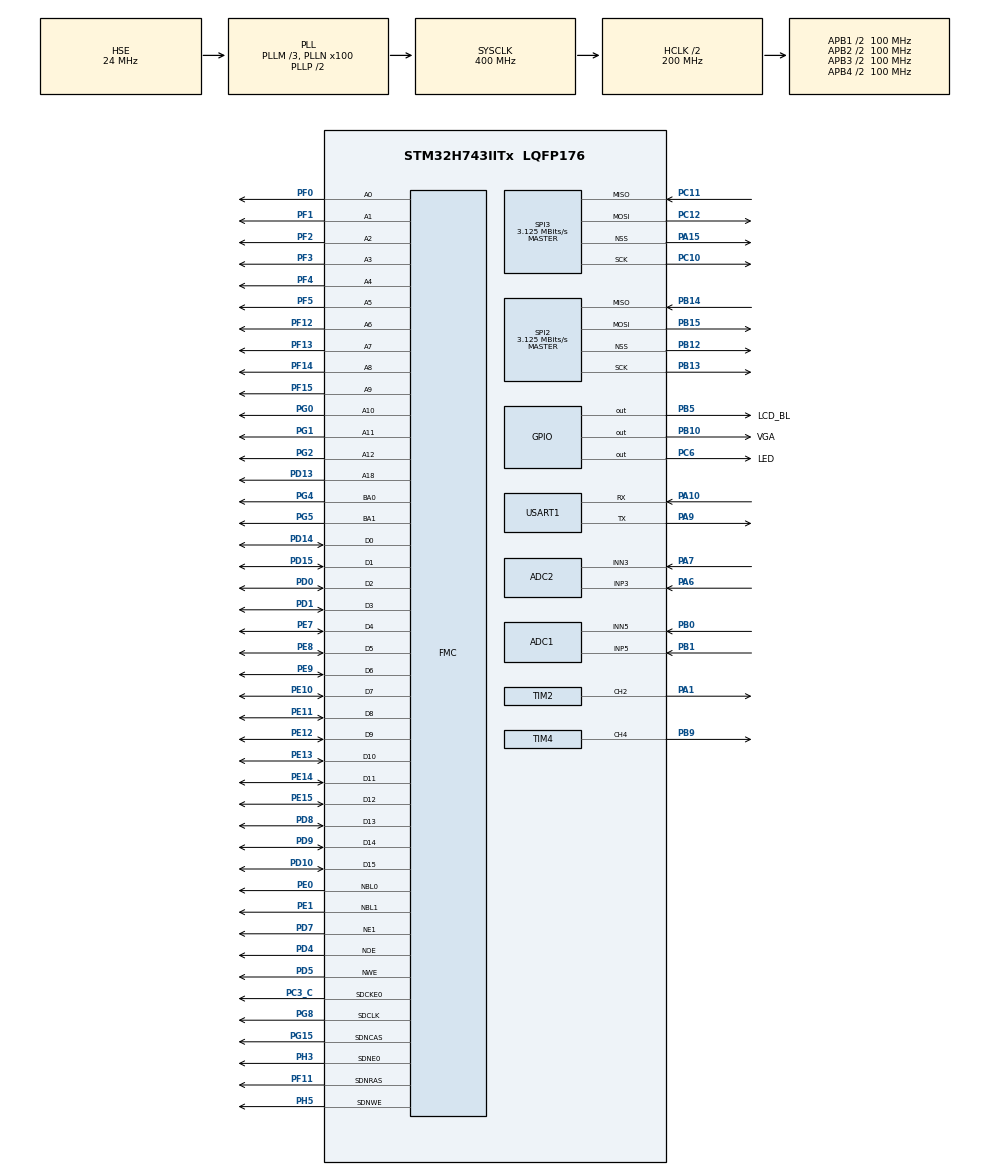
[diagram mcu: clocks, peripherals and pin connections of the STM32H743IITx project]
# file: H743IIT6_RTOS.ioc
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ADC1.Channel-0\#ChannelRegularConversion=ADC_CHANNEL_5
ADC1.ClockPrescaler=ADC_CLOCK_ASYNC_DIV12
ADC1.ConversionDataManagement=ADC_CONVERSIONDATA_DMA_ONESHOT
ADC1.ExternalTrigConv=ADC_EXTERNALTRIG_T2_CC2
ADC1.NbrOfConversionFlag=1
ADC1.OffsetNumber-0\#ChannelRegularConversion=ADC_OFFSET_NONE
ADC1.OffsetSignedSaturation-0\#ChannelRegularConversion=DISABLE
ADC1.Overrun=ADC_OVR_DATA_OVERWRITTEN
ADC1.Rank-0\#ChannelRegularConversion=1
ADC1.SamplingTime-0\#ChannelRegularConversion=ADC_SAMPLETIME_8CYCLES_5
ADC1.SingleDiff-0\#ChannelRegularConversion=ADC_DIFFERENTIAL_ENDED
ADC1.master=1
ADC2.Channel-0\#ChannelRegularConversion=ADC_CHANNEL_3
ADC2.ClockPrescaler=ADC_CLOCK_ASYNC_DIV12
ADC2.ConversionDataManagement=ADC_CONVERSIONDATA_DMA_ONESHOT
ADC2.ExternalTrigConv=ADC_EXTERNALTRIG_T4_CC4
ADC2.NbrOfConversionFlag=1
ADC2.OffsetNumber-0\#ChannelRegularConversion=ADC_OFFSET_NONE
ADC2.OffsetSignedSaturation-0\#ChannelRegularConversion=DISABLE
ADC2.Overrun=ADC_OVR_DATA_OVERWRITTEN
ADC2.Rank-0\#ChannelRegularConversion=1
ADC2.SamplingTime-0\#ChannelRegularConversion=ADC_SAMPLETIME_1CYCLE_5
ADC2.SingleDiff-0\#ChannelRegularConversion=ADC_DIFFERENTIAL_ENDED
CORTEX_M7.AccessPermission-Cortex_Memory_Protection_Unit_Region0_Settings=MPU_REGION_FULL_ACCESS
CORTEX_M7.AccessPermission-Cortex_Memory_Protection_Unit_Region1_Settings=MPU_REGION_FULL_ACCESS
CORTEX_M7.BaseAddress-Cortex_Memory_Protection_Unit_Region0_Settings=0x24000000
CORTEX_M7.BaseAddress-Cortex_Memory_Protection_Unit_Region1_Settings=0x38000000
CORTEX_M7.CPU_DCache=Enabled
CORTEX_M7.CPU_ICache=Enabled
CORTEX_M7.Enable-Cortex_Memory_Protection_Unit_Region0_Settings=MPU_REGION_ENABLE
CORTEX_M7.Enable-Cortex_Memory_Protection_Unit_Region1_Settings=MPU_REGION_ENABLE
CORTEX_M7.IsBufferable-Cortex_Memory_Protection_Unit_Region0_Settings=MPU_ACCESS_BUFFERABLE
CORTEX_M7.IsCacheable-Cortex_Memory_Protection_Unit_Region0_Settings=MPU_ACCESS_CACHEABLE
CORTEX_M7.IsCacheable-Cortex_Memory_Protection_Unit_Region1_Settings=MPU_ACCESS_CACHEABLE
CORTEX_M7.MPU_Control=MPU_PRIVILEGED_DEFAULT
CORTEX_M7.Size-Cortex_Memory_Protection_Unit_Region0_Settings=MPU_REGION_SIZE_512KB
CORTEX_M7.Size-Cortex_Memory_Protection_Unit_Region1_Settings=MPU_REGION_SIZE_64KB
CORTEX_M7.TypeExtField-Cortex_Memory_Protection_Unit_Region0_Settings=MPU_TEX_LEVEL1
Dma.ADC1.4.Direction=DMA_PERIPH_TO_MEMORY
Dma.ADC1.4.EventEnable=DISABLE
Dma.ADC1.4.FIFOMode=DMA_FIFOMODE_DISABLE
Dma.ADC1.4.Instance=DMA1_Stream4
Dma.ADC1.4.MemDataAlignment=DMA_MDATAALIGN_HALFWORD
Dma.ADC1.4.MemInc=DMA_MINC_ENABLE
Dma.ADC1.4.Mode=DMA_NORMAL
Dma.ADC1.4.PeriphDataAlignment=DMA_PDATAALIGN_HALFWORD
Dma.ADC1.4.PeriphInc=DMA_PINC_DISABLE
Dma.ADC1.4.Polarity=HAL_DMAMUX_REQ_GEN_RISING
Dma.ADC1.4.Priority=DMA_PRIORITY_LOW
Dma.ADC1.4.RequestNumber=1
Dma.ADC1.4.SignalID=NONE
Dma.ADC1.4.SyncEnable=DISABLE
Dma.ADC1.4.SyncPolarity=HAL_DMAMUX_SYNC_NO_EVENT
Dma.ADC1.4.SyncRequestNumber=1
Dma.ADC1.4.SyncSignalID=NONE
Dma.ADC2.5.Direction=DMA_PERIPH_TO_MEMORY
Dma.ADC2.5.EventEnable=DISABLE
Dma.ADC2.5.FIFOMode=DMA_FIFOMODE_DISABLE
Dma.ADC2.5.Instance=DMA1_Stream5
Dma.ADC2.5.MemDataAlignment=DMA_MDATAALIGN_HALFWORD
Dma.ADC2.5.MemInc=DMA_MINC_ENABLE
Dma.ADC2.5.Mode=DMA_NORMAL
Dma.ADC2.5.PeriphDataAlignment=DMA_PDATAALIGN_HALFWORD
Dma.ADC2.5.PeriphInc=DMA_PINC_DISABLE
Dma.ADC2.5.Polarity=HAL_DMAMUX_REQ_GEN_RISING
Dma.ADC2.5.Priority=DMA_PRIORITY_LOW
Dma.ADC2.5.RequestNumber=1
Dma.ADC2.5.SignalID=NONE
Dma.ADC2.5.SyncEnable=DISABLE
Dma.ADC2.5.SyncPolarity=HAL_DMAMUX_SYNC_NO_EVENT
Dma.ADC2.5.SyncRequestNumber=1
Dma.ADC2.5.SyncSignalID=NONE
Dma.Request0=SPI2_RX
Dma.Request1=SPI2_TX
Dma.Request2=SPI3_RX
Dma.Request3=SPI3_TX
Dma.Request4=ADC1
Dma.Request5=ADC2
Dma.SPI2_RX.0.Direction=DMA_PERIPH_TO_MEMORY
Dma.SPI2_RX.0.EventEnable=DISABLE
Dma.SPI2_RX.0.FIFOMode=DMA_FIFOMODE_DISABLE
Dma.SPI2_RX.0.Instance=DMA1_Stream0
Dma.SPI2_RX.0.MemDataAlignment=DMA_MDATAALIGN_HALFWORD
Dma.SPI2_RX.0.MemInc=DMA_MINC_ENABLE
Dma.SPI2_RX.0.Mode=DMA_NORMAL
Dma.SPI2_RX.0.PeriphDataAlignment=DMA_PDATAALIGN_HALFWORD
Dma.SPI2_RX.0.PeriphInc=DMA_PINC_DISABLE
Dma.SPI2_RX.0.Polarity=HAL_DMAMUX_REQ_GEN_RISING
Dma.SPI2_RX.0.Priority=DMA_PRIORITY_LOW
Dma.SPI2_RX.0.RequestNumber=1
Dma.SPI2_RX.0.SignalID=NONE
Dma.SPI2_RX.0.SyncEnable=DISABLE
Dma.SPI2_RX.0.SyncPolarity=HAL_DMAMUX_SYNC_NO_EVENT
Dma.SPI2_RX.0.SyncRequestNumber=1
Dma.SPI2_RX.0.SyncSignalID=NONE
Dma.SPI2_TX.1.Direction=DMA_MEMORY_TO_PERIPH
Dma.SPI2_TX.1.EventEnable=DISABLE
Dma.SPI2_TX.1.FIFOMode=DMA_FIFOMODE_DISABLE
Dma.SPI2_TX.1.Instance=DMA1_Stream1
Dma.SPI2_TX.1.MemDataAlignment=DMA_MDATAALIGN_HALFWORD
Dma.SPI2_TX.1.MemInc=DMA_MINC_ENABLE
Dma.SPI2_TX.1.Mode=DMA_NORMAL
Dma.SPI2_TX.1.PeriphDataAlignment=DMA_PDATAALIGN_HALFWORD
Dma.SPI2_TX.1.PeriphInc=DMA_PINC_DISABLE
Dma.SPI2_TX.1.Polarity=HAL_DMAMUX_REQ_GEN_RISING
Dma.SPI2_TX.1.Priority=DMA_PRIORITY_LOW
Dma.SPI2_TX.1.RequestNumber=1
Dma.SPI2_TX.1.SignalID=NONE
Dma.SPI2_TX.1.SyncEnable=DISABLE
Dma.SPI2_TX.1.SyncPolarity=HAL_DMAMUX_SYNC_NO_EVENT
Dma.SPI2_TX.1.SyncRequestNumber=1
Dma.SPI2_TX.1.SyncSignalID=NONE
Dma.SPI3_RX.2.Direction=DMA_PERIPH_TO_MEMORY
Dma.SPI3_RX.2.EventEnable=DISABLE
Dma.SPI3_RX.2.FIFOMode=DMA_FIFOMODE_DISABLE
Dma.SPI3_RX.2.Instance=DMA1_Stream2
Dma.SPI3_RX.2.MemDataAlignment=DMA_MDATAALIGN_HALFWORD
Dma.SPI3_RX.2.MemInc=DMA_MINC_ENABLE
Dma.SPI3_RX.2.Mode=DMA_NORMAL
Dma.SPI3_RX.2.PeriphDataAlignment=DMA_PDATAALIGN_HALFWORD
Dma.SPI3_RX.2.PeriphInc=DMA_PINC_DISABLE
Dma.SPI3_RX.2.Polarity=HAL_DMAMUX_REQ_GEN_RISING
Dma.SPI3_RX.2.Priority=DMA_PRIORITY_LOW
Dma.SPI3_RX.2.RequestNumber=1
Dma.SPI3_RX.2.SignalID=NONE
Dma.SPI3_RX.2.SyncEnable=DISABLE
Dma.SPI3_RX.2.SyncPolarity=HAL_DMAMUX_SYNC_NO_EVENT
Dma.SPI3_RX.2.SyncRequestNumber=1
Dma.SPI3_RX.2.SyncSignalID=NONE
Dma.SPI3_TX.3.Direction=DMA_MEMORY_TO_PERIPH
Dma.SPI3_TX.3.EventEnable=DISABLE
Dma.SPI3_TX.3.FIFOMode=DMA_FIFOMODE_DISABLE
Dma.SPI3_TX.3.Instance=DMA1_Stream3
Dma.SPI3_TX.3.MemDataAlignment=DMA_MDATAALIGN_HALFWORD
Dma.SPI3_TX.3.MemInc=DMA_MINC_ENABLE
Dma.SPI3_TX.3.Mode=DMA_NORMAL
Dma.SPI3_TX.3.PeriphDataAlignment=DMA_PDATAALIGN_HALFWORD
Dma.SPI3_TX.3.PeriphInc=DMA_PINC_DISABLE
Dma.SPI3_TX.3.Polarity=HAL_DMAMUX_REQ_GEN_RISING
Dma.SPI3_TX.3.Priority=DMA_PRIORITY_LOW
Dma.SPI3_TX.3.RequestNumber=1
Dma.SPI3_TX.3.SignalID=NONE
Dma.SPI3_TX.3.SyncEnable=DISABLE
Dma.SPI3_TX.3.SyncPolarity=HAL_DMAMUX_SYNC_NO_EVENT
Dma.SPI3_TX.3.SyncRequestNumber=1
Dma.SPI3_TX.3.SyncSignalID=NONE
FMC.BankMapConfig=FMC_SWAPBMAP_DISABLE
FMC.BusTurnAroundDuration1=10
FMC.CASLatency1=FMC_SDRAM_CAS_LATENCY_3
FMC.ColumnBitsNumber1=FMC_SDRAM_COLUMN_BITS_NUM_9
FMC.DataSetupTime1=85
FMC.ExitSelfRefreshDelay1=8
FMC.ExtendedBusTurnAroundDuration1=0
FMC.ExtendedDataSetupTime1=15
FMC.ExtendedMode1=FMC_EXTENDED_MODE_ENABLE
FMC.LoadToActiveDelay1=2
FMC.RCDDelay1=2
FMC.RPDelay1=2
FMC.ReadBurst1=FMC_SDRAM_RBURST_ENABLE
FMC.ReadPipeDelay1=FMC_SDRAM_RPIPE_DELAY_1
FMC.RowCycleDelay1=7
FMC.SDClockPeriod1=FMC_SDRAM_CLOCK_PERIOD_2
FMC.SelfRefreshTime1=6
FMC.WriteRecoveryTime1=5
FREERTOS.Tasks01=lvglTask,24,1024,lvglTask_cb,Default,NULL,Dynamic,NULL,NULL;adcTask,24,1024,adcTask_cb,Default,NULL,Dynamic,NULL,NULL;spiTask,24,1024,spiTask_cb,Default,NULL,Dynamic,NULL,NULL
FREERTOS.configENABLE_FPU=1
FREERTOS.configUSE_NEWLIB_REENTRANT=1
FREERTOS.configUSE_TICK_HOOK=1
Mcu.Family=STM32H7
Mcu.Name=STM32H743IITx
Mcu.Package=LQFP176
NVIC.DMA1_Stream0_IRQn=true\:5\:0\:false\:false\:true\:true\:false\:true\:true
NVIC.DMA1_Stream1_IRQn=true\:5\:0\:false\:false\:true\:true\:false\:true\:true
NVIC.DMA1_Stream2_IRQn=true\:5\:0\:false\:false\:true\:true\:false\:true\:true
NVIC.DMA1_Stream3_IRQn=true\:5\:0\:false\:false\:true\:true\:false\:true\:true
NVIC.DMA1_Stream4_IRQn=true\:5\:0\:false\:false\:true\:true\:false\:true\:true
NVIC.DMA1_Stream5_IRQn=true\:5\:0\:false\:false\:true\:true\:false\:true\:true
NVIC.PriorityGroup=NVIC_PRIORITYGROUP_4
NVIC.SPI2_IRQn=true\:5\:0\:false\:false\:true\:true\:false\:true\:true
NVIC.SPI3_IRQn=true\:5\:0\:false\:false\:true\:true\:false\:true\:true
NVIC.TIM17_IRQn=true\:15\:0\:false\:false\:true\:false\:false\:true\:true
NVIC.TimeBase=TIM17_IRQn
NVIC.TimeBaseIP=TIM17
PA1.Signal=S_TIM2_CH2
PA10.Mode=Asynchronous
PA10.Signal=USART1_RX
PA13\ (JTMS/SWDIO).Mode=Serial_Wire
PA13\ (JTMS/SWDIO).Signal=DEBUG_JTMS-SWDIO
PA14\ (JTCK/SWCLK).Mode=Serial_Wire
PA14\ (JTCK/SWCLK).Signal=DEBUG_JTCK-SWCLK
PA15\ (JTDI).GPIO_PuPd=GPIO_PULLUP
PA15\ (JTDI).GPIO_Speed=GPIO_SPEED_FREQ_VERY_HIGH
PA15\ (JTDI).Mode=NSS_Signal_Hard_Output
PA15\ (JTDI).Signal=SPI3_NSS
PA6.Signal=ADCx_INP3
PA7.Signal=ADCx_INN3
PA9.Mode=Asynchronous
PA9.Signal=USART1_TX
PB0.Signal=ADCx_INN5
PB1.Signal=ADCx_INP5
PB10.GPIO_Label=VGA
PB10.Signal=GPIO_Output
PB12.GPIO_PuPd=GPIO_PULLUP
PB12.GPIO_Speed=GPIO_SPEED_FREQ_VERY_HIGH
PB12.Mode=NSS_Signal_Hard_Output
PB12.Signal=SPI2_NSS
PB13.GPIO_Speed=GPIO_SPEED_FREQ_VERY_HIGH
PB13.Mode=Full_Duplex_Master
PB13.Signal=SPI2_SCK
PB14.GPIO_Speed=GPIO_SPEED_FREQ_VERY_HIGH
PB14.Mode=Full_Duplex_Master
PB14.Signal=SPI2_MISO
PB15.GPIO_Speed=GPIO_SPEED_FREQ_VERY_HIGH
PB15.Mode=Full_Duplex_Master
PB15.Signal=SPI2_MOSI
PB5.GPIO_Label=LCD_BL
PB5.Signal=GPIO_Output
PB9.Signal=S_TIM4_CH4
PC10.GPIO_Speed=GPIO_SPEED_FREQ_VERY_HIGH
PC10.Mode=Full_Duplex_Master
PC10.Signal=SPI3_SCK
PC11.GPIO_Speed=GPIO_SPEED_FREQ_VERY_HIGH
PC11.Mode=Full_Duplex_Master
PC11.Signal=SPI3_MISO
PC12.GPIO_Speed=GPIO_SPEED_FREQ_VERY_HIGH
PC12.Mode=Full_Duplex_Master
PC12.Signal=SPI3_MOSI
PC14-OSC32_IN\ (OSC32_IN).Mode=LSE-External-Oscillator
PC14-OSC32_IN\ (OSC32_IN).Signal=RCC_OSC32_IN
PC15-OSC32_OUT\ (OSC32_OUT).Mode=LSE-External-Oscillator
PC15-OSC32_OUT\ (OSC32_OUT).Signal=RCC_OSC32_OUT
PC3_C.Mode=SdramChipSelect1_1
PC3_C.Signal=FMC_SDCKE0
PC6.GPIO_Label=LED
PC6.Signal=GPIO_Output
PD0.Signal=FMC_D2_DA2
PD1.Signal=FMC_D3_DA3
PD10.Signal=FMC_D15_DA15
PD13.Signal=FMC_A18
PD14.Signal=FMC_D0_DA0
PD15.Signal=FMC_D1_DA1
PD4.Signal=FMC_NOE
PD5.Signal=FMC_NWE
PD7.Mode=NorPsramChipSelect1_1
PD7.Signal=FMC_NE1
PD8.Signal=FMC_D13_DA13
PD9.Signal=FMC_D14_DA14
PE0.Signal=FMC_NBL0
PE1.Signal=FMC_NBL1
PE10.Signal=FMC_D7_DA7
PE11.Signal=FMC_D8_DA8
PE12.Signal=FMC_D9_DA9
PE13.Signal=FMC_D10_DA10
PE14.Signal=FMC_D11_DA11
PE15.Signal=FMC_D12_DA12
PE7.Signal=FMC_D4_DA4
PE8.Signal=FMC_D5_DA5
PE9.Signal=FMC_D6_DA6
PF0.Signal=FMC_A0
PF1.Signal=FMC_A1
PF11.Signal=FMC_SDNRAS
PF12.Signal=FMC_A6
PF13.Signal=FMC_A7
PF14.Signal=FMC_A8
PF15.Signal=FMC_A9
PF2.Signal=FMC_A2
PF3.Signal=FMC_A3
PF4.Signal=FMC_A4
PF5.Signal=FMC_A5
PG0.Signal=FMC_A10
PG1.Signal=FMC_A11
PG11.GPIO_Speed=GPIO_SPEED_FREQ_VERY_HIGH
PG11.Signal=LTDC_B3
PG15.Signal=FMC_SDNCAS
PG2.Signal=FMC_A12
PG4.Signal=FMC_A14_BA0
PG5.Signal=FMC_A15_BA1
PG8.Signal=FMC_SDCLK
PH0-OSC_IN\ (PH0).Mode=HSE-External-Oscillator
PH0-OSC_IN\ (PH0).Signal=RCC_OSC_IN
PH1-OSC_OUT\ (PH1).Mode=HSE-External-Oscillator
PH1-OSC_OUT\ (PH1).Signal=RCC_OSC_OUT
PH10.GPIO_Speed=GPIO_SPEED_FREQ_VERY_HIGH
PH10.Signal=LTDC_R4
PH12.GPIO_Speed=GPIO_SPEED_FREQ_VERY_HIGH
PH12.Signal=LTDC_R6
PH13.GPIO_Speed=GPIO_SPEED_FREQ_VERY_HIGH
PH13.Signal=LTDC_G2
PH14.GPIO_Speed=GPIO_SPEED_FREQ_VERY_HIGH
PH14.Signal=LTDC_G3
PH15.GPIO_Speed=GPIO_SPEED_FREQ_VERY_HIGH
PH15.Signal=LTDC_G4
PH3.Mode=SdramChipSelect1_1
PH3.Signal=FMC_SDNE0
PH5.Signal=FMC_SDNWE
PH9.GPIO_Speed=GPIO_SPEED_FREQ_VERY_HIGH
PH9.Signal=LTDC_R3
PI0.GPIO_Speed=GPIO_SPEED_FREQ_VERY_HIGH
PI0.Signal=LTDC_G5
PI1.GPIO_Speed=GPIO_SPEED_FREQ_VERY_HIGH
PI1.Signal=LTDC_G6
PI4.GPIO_Speed=GPIO_SPEED_FREQ_VERY_HIGH
PI4.Signal=LTDC_B4
PI5.GPIO_Speed=GPIO_SPEED_FREQ_VERY_HIGH
PI5.Signal=LTDC_B5
PI6.GPIO_Speed=GPIO_SPEED_FREQ_VERY_HIGH
PI6.Signal=LTDC_B6
PI7.GPIO_Speed=GPIO_SPEED_FREQ_VERY_HIGH
PI7.Signal=LTDC_B7
ProjectManager.HeapSize=0x200
ProjectManager.StackSize=0x400
ProjectManager.TargetToolchain=STM32CubeIDE
RCC.ADCFreq_Value=150000000
RCC.APB1Freq_Value=100000000
RCC.APB2Freq_Value=100000000
RCC.APB3Freq_Value=100000000
RCC.APB4Freq_Value=100000000
RCC.CKPERSourceSelection=RCC_CLKPSOURCE_HSE
RCC.CortexFreq_Value=400000000
RCC.D1PPRE=RCC_APB3_DIV2
RCC.D2PPRE1=RCC_APB1_DIV2
RCC.D2PPRE2=RCC_APB2_DIV2
RCC.D3PPRE=RCC_APB4_DIV2
RCC.DIVM1=3
RCC.DIVM2=2
RCC.DIVM3=1
RCC.DIVN1=100
RCC.DIVN2=12
RCC.DIVN3=50
RCC.DIVP2=1
RCC.DIVQ1=4
RCC.DIVR3=8
RCC.HCLKFreq_Value=200000000
RCC.HPRE=RCC_HCLK_DIV2
RCC.HSE_VALUE=24000000
RCC.PLL2FRACN=4096
RCC.PLL3FRACN=0
RCC.PLLFRACN=0
RCC.PLLSourceVirtual=RCC_PLLSOURCE_HSE
RCC.PWR_Regulator_Voltage_Scale=PWR_REGULATOR_VOLTAGE_SCALE0
RCC.SYSCLKFreq_VALUE=400000000
RCC.SYSCLKSource=RCC_SYSCLKSOURCE_PLLCLK
RCC.USBFreq_Value=200000000
SH.ADCx_INN3.0=ADC2_INN3,IN3-Differential
SH.ADCx_INN5.0=ADC1_INN5,IN5-Differential
SH.ADCx_INP3.0=ADC2_INP3,IN3-Differential
SH.ADCx_INP5.0=ADC1_INP5,IN5-Differential
SH.FMC_A0.0=FMC_A0,13b-sda1
SH.FMC_A1.0=FMC_A1,13b-sda1
SH.FMC_A10.0=FMC_A10,13b-sda1
SH.FMC_A11.0=FMC_A11,13b-sda1
SH.FMC_A12.0=FMC_A12,13b-sda1
SH.FMC_A14_BA0.0=FMC_BA0,FourSdramBanks1
SH.FMC_A15_BA1.0=FMC_BA1,FourSdramBanks1
SH.FMC_A18.0=FMC_A18,A18_1
SH.FMC_A2.0=FMC_A2,13b-sda1
SH.FMC_A3.0=FMC_A3,13b-sda1
SH.FMC_A4.0=FMC_A4,13b-sda1
SH.FMC_A5.0=FMC_A5,13b-sda1
SH.FMC_A6.0=FMC_A6,13b-sda1
SH.FMC_A7.0=FMC_A7,13b-sda1
SH.FMC_A8.0=FMC_A8,13b-sda1
SH.FMC_A9.0=FMC_A9,13b-sda1
SH.FMC_D0_DA0.0=FMC_D0,sd-16b-d1
SH.FMC_D0_DA0.1=FMC_D0,16b-d1
SH.FMC_D10_DA10.0=FMC_D10,sd-16b-d1
SH.FMC_D10_DA10.1=FMC_D10,16b-d1
SH.FMC_D11_DA11.0=FMC_D11,sd-16b-d1
SH.FMC_D11_DA11.1=FMC_D11,16b-d1
SH.FMC_D12_DA12.0=FMC_D12,sd-16b-d1
SH.FMC_D12_DA12.1=FMC_D12,16b-d1
SH.FMC_D13_DA13.0=FMC_D13,sd-16b-d1
SH.FMC_D13_DA13.1=FMC_D13,16b-d1
SH.FMC_D14_DA14.0=FMC_D14,sd-16b-d1
SH.FMC_D14_DA14.1=FMC_D14,16b-d1
SH.FMC_D15_DA15.0=FMC_D15,sd-16b-d1
SH.FMC_D15_DA15.1=FMC_D15,16b-d1
SH.FMC_D1_DA1.0=FMC_D1,sd-16b-d1
SH.FMC_D1_DA1.1=FMC_D1,16b-d1
SH.FMC_D2_DA2.0=FMC_D2,sd-16b-d1
SH.FMC_D2_DA2.1=FMC_D2,16b-d1
SH.FMC_D3_DA3.0=FMC_D3,sd-16b-d1
SH.FMC_D3_DA3.1=FMC_D3,16b-d1
SH.FMC_D4_DA4.0=FMC_D4,sd-16b-d1
SH.FMC_D4_DA4.1=FMC_D4,16b-d1
SH.FMC_D5_DA5.0=FMC_D5,sd-16b-d1
SH.FMC_D5_DA5.1=FMC_D5,16b-d1
SH.FMC_D6_DA6.0=FMC_D6,sd-16b-d1
SH.FMC_D6_DA6.1=FMC_D6,16b-d1
SH.FMC_D7_DA7.0=FMC_D7,sd-16b-d1
SH.FMC_D7_DA7.1=FMC_D7,16b-d1
SH.FMC_D8_DA8.0=FMC_D8,sd-16b-d1
SH.FMC_D8_DA8.1=FMC_D8,16b-d1
SH.FMC_D9_DA9.0=FMC_D9,sd-16b-d1
SH.FMC_D9_DA9.1=FMC_D9,16b-d1
SH.FMC_NBL0.0=FMC_NBL0,Sd2ByteEnable1
SH.FMC_NBL1.0=FMC_NBL1,Sd2ByteEnable1
SH.FMC_NOE.0=FMC_NOE,Lcd1
SH.FMC_NWE.0=FMC_NWE,Lcd1
SH.FMC_SDCLK.0=FMC_SDCLK,13b-sda1
SH.FMC_SDNCAS.0=FMC_SDNCAS,13b-sda1
SH.FMC_SDNRAS.0=FMC_SDNRAS,13b-sda1
SH.FMC_SDNWE.0=FMC_SDNWE,13b-sda1
SH.S_TIM2_CH2.0=TIM2_CH2,PWM Generation2 CH2
SH.S_TIM4_CH4.0=TIM4_CH4,PWM Generation4 CH4
SPI2.BaudRatePrescaler=SPI_BAUDRATEPRESCALER_64
SPI2.CLKPhase=SPI_PHASE_2EDGE
SPI2.CLKPolarity=SPI_POLARITY_HIGH
SPI2.CalculateBaudRate=3.125 MBits/s
SPI2.DataSize=SPI_DATASIZE_16BIT
SPI2.Direction=SPI_DIRECTION_2LINES
SPI2.Mode=SPI_MODE_MASTER
SPI2.VirtualNSS=VM_NSSHARD
SPI2.VirtualType=VM_MASTER
SPI3.BaudRatePrescaler=SPI_BAUDRATEPRESCALER_64
SPI3.CLKPhase=SPI_PHASE_2EDGE
SPI3.CLKPolarity=SPI_POLARITY_HIGH
SPI3.CalculateBaudRate=3.125 MBits/s
SPI3.DataSize=SPI_DATASIZE_16BIT
SPI3.Direction=SPI_DIRECTION_2LINES
SPI3.Mode=SPI_MODE_MASTER
SPI3.VirtualNSS=VM_NSSHARD
SPI3.VirtualType=VM_MASTER
TIM2.AutoReloadPreload=TIM_AUTORELOAD_PRELOAD_DISABLE
TIM2.Channel-PWM\ Generation2\ CH2=TIM_CHANNEL_2
TIM2.Period=1000-1
TIM2.Prescaler=20-1
TIM2.Pulse-PWM\ Generation2\ CH2=500
TIM2.TIM_MasterOutputTrigger=TIM_TRGO_RESET
TIM2.TIM_MasterSlaveMode=TIM_MASTERSLAVEMODE_DISABLE
TIM4.Channel-PWM\ Generation4\ CH4=TIM_CHANNEL_4
TIM4.Period=1000-1
TIM4.Prescaler=20-1
TIM4.Pulse-PWM\ Generation4\ CH4=500
USART1.VirtualMode-Asynchronous=VM_ASYNC
VP_FREERTOS_VS_CMSIS_V2.Mode=CMSIS_V2
VP_SYS_VS_tim17.Mode=TIM17
VP_TIM2_VS_ClockSourceINT.Mode=Internal
VP_TIM4_VS_ClockSourceINT.Mode=Internal
board=custom

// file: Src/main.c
/* USER CODE BEGIN Header */
/**
  ******************************************************************************
  * @file           : main.c
  * @brief          : Main program body
  ******************************************************************************
  * @attention
  *
  * Copyright (c) 2022 STMicroelectronics.
  * All rights reserved.
  *
  * This software is licensed under terms that can be found in the LICENSE file
  * in the root directory of this software component.
  * If no LICENSE file comes with this software, it is provided AS-IS.
  *
  ******************************************************************************
  */
/* USER CODE END Header */
#include "main.h"
#include "cmsis_os.h"
#include "adc.h"
#include "dma.h"
#include "spi.h"
#include "tim.h"
#include "usart.h"
#include "gpio.h"
#include "fmc.h"

void SystemClock_Config(void);
void PeriphCommonClock_Config(void);
static void MPU_Config(void);
void MX_FREERTOS_Init(void);

int main(void)
{

  /* MPU Configuration--------------------------------------------------------*/
  MPU_Config();

  /* Enable I-Cache---------------------------------------------------------*/
  SCB_EnableICache();

  /* Enable D-Cache---------------------------------------------------------*/
  SCB_EnableDCache();

  /* MCU Configuration--------------------------------------------------------*/

  /* Reset of all peripherals, Initializes the Flash interface and the Systick. */
  HAL_Init();

  /* Configure the system clock */
  SystemClock_Config();

/* Configure the peripherals common clocks */
  PeriphCommonClock_Config();

  /* Initialize all configured peripherals */
  MX_GPIO_Init();
  MX_USART1_UART_Init();
  MX_TIM2_Init();
  MX_FMC_Init();
  MX_DMA_Init();
  MX_SPI2_Init();
  MX_SPI3_Init();
  MX_ADC1_Init();
  MX_ADC2_Init();
  MX_TIM4_Init();

  /* Init scheduler */
  osKernelInitialize();  /* Call init function for freertos objects (in freertos.c) */
  MX_FREERTOS_Init();

  /* Start scheduler */
  osKernelStart();

  /* We should never get here as control is now taken by the scheduler */
  /* Infinite loop */
  while (1)
  {

  }
}

void SystemClock_Config(void)
{
  RCC_OscInitTypeDef RCC_OscInitStruct = {0};
  RCC_ClkInitTypeDef RCC_ClkInitStruct = {0};

  /** Supply configuration update enable
  */
  HAL_PWREx_ConfigSupply(PWR_LDO_SUPPLY);

  /** Configure the main internal regulator output voltage
  */
  __HAL_PWR_VOLTAGESCALING_CONFIG(PWR_REGULATOR_VOLTAGE_SCALE1);

  while(!__HAL_PWR_GET_FLAG(PWR_FLAG_VOSRDY)) {}

  __HAL_RCC_SYSCFG_CLK_ENABLE();
  __HAL_PWR_VOLTAGESCALING_CONFIG(PWR_REGULATOR_VOLTAGE_SCALE0);

  while(!__HAL_PWR_GET_FLAG(PWR_FLAG_VOSRDY)) {}

  /** Macro to configure the PLL clock source
  */
  __HAL_RCC_PLL_PLLSOURCE_CONFIG(RCC_PLLSOURCE_HSE);

  /** Initializes the RCC Oscillators according to the specified parameters
  * in the RCC_OscInitTypeDef structure.
  */
  RCC_OscInitStruct.OscillatorType = RCC_OSCILLATORTYPE_HSE;
  RCC_OscInitStruct.HSEState = RCC_HSE_ON;
  RCC_OscInitStruct.PLL.PLLState = RCC_PLL_ON;
  RCC_OscInitStruct.PLL.PLLSource = RCC_PLLSOURCE_HSE;
  RCC_OscInitStruct.PLL.PLLM = 3;
  RCC_OscInitStruct.PLL.PLLN = 100;
  RCC_OscInitStruct.PLL.PLLP = 2;
  RCC_OscInitStruct.PLL.PLLQ = 4;
  RCC_OscInitStruct.PLL.PLLR = 2;
  RCC_OscInitStruct.PLL.PLLRGE = RCC_PLL1VCIRANGE_3;
  RCC_OscInitStruct.PLL.PLLVCOSEL = RCC_PLL1VCOWIDE;
  RCC_OscInitStruct.PLL.PLLFRACN = 0;
  if (HAL_RCC_OscConfig(&RCC_OscInitStruct) != HAL_OK)
  {
    Error_Handler();
  }

  /** Initializes the CPU, AHB and APB buses clocks
  */
  RCC_ClkInitStruct.ClockType = RCC_CLOCKTYPE_HCLK|RCC_CLOCKTYPE_SYSCLK
                              |RCC_CLOCKTYPE_PCLK1|RCC_CLOCKTYPE_PCLK2
                              |RCC_CLOCKTYPE_D3PCLK1|RCC_CLOCKTYPE_D1PCLK1;
  RCC_ClkInitStruct.SYSCLKSource = RCC_SYSCLKSOURCE_PLLCLK;
  RCC_ClkInitStruct.SYSCLKDivider = RCC_SYSCLK_DIV1;
  RCC_ClkInitStruct.AHBCLKDivider = RCC_HCLK_DIV2;
  RCC_ClkInitStruct.APB3CLKDivider = RCC_APB3_DIV2;
  RCC_ClkInitStruct.APB1CLKDivider = RCC_APB1_DIV2;
  RCC_ClkInitStruct.APB2CLKDivider = RCC_APB2_DIV2;
  RCC_ClkInitStruct.APB4CLKDivider = RCC_APB4_DIV2;

  if (HAL_RCC_ClockConfig(&RCC_ClkInitStruct, FLASH_LATENCY_2) != HAL_OK)
  {
    Error_Handler();
  }
}

void PeriphCommonClock_Config(void)
{
  RCC_PeriphCLKInitTypeDef PeriphClkInitStruct = {0};

  /** Initializes the peripherals clock
  */
  PeriphClkInitStruct.PeriphClockSelection = RCC_PERIPHCLK_ADC;
  PeriphClkInitStruct.PLL2.PLL2M = 2;
  PeriphClkInitStruct.PLL2.PLL2N = 12;
  PeriphClkInitStruct.PLL2.PLL2P = 1;
  PeriphClkInitStruct.PLL2.PLL2Q = 2;
  PeriphClkInitStruct.PLL2.PLL2R = 2;
  PeriphClkInitStruct.PLL2.PLL2RGE = RCC_PLL2VCIRANGE_3;
  PeriphClkInitStruct.PLL2.PLL2VCOSEL = RCC_PLL2VCOMEDIUM;
  PeriphClkInitStruct.PLL2.PLL2FRACN = 4096;
  PeriphClkInitStruct.AdcClockSelection = RCC_ADCCLKSOURCE_PLL2;
  if (HAL_RCCEx_PeriphCLKConfig(&PeriphClkInitStruct) != HAL_OK)
  {
    Error_Handler();
  }
}

/* MPU Configuration */

void MPU_Config(void)
{
  MPU_Region_InitTypeDef MPU_InitStruct = {0};

  /* Disables the MPU */
  HAL_MPU_Disable();

  /** Initializes and configures the Region and the memory to be protected
  */
  MPU_InitStruct.Enable = MPU_REGION_ENABLE;
  MPU_InitStruct.Number = MPU_REGION_NUMBER0;
  MPU_InitStruct.BaseAddress = 0x24000000;
  MPU_InitStruct.Size = MPU_REGION_SIZE_512KB;
  MPU_InitStruct.SubRegionDisable = 0x0;
  MPU_InitStruct.TypeExtField = MPU_TEX_LEVEL1;
  MPU_InitStruct.AccessPermission = MPU_REGION_FULL_ACCESS;
  MPU_InitStruct.DisableExec = MPU_INSTRUCTION_ACCESS_ENABLE;
  MPU_InitStruct.IsShareable = MPU_ACCESS_NOT_SHAREABLE;
  MPU_InitStruct.IsCacheable = MPU_ACCESS_CACHEABLE;
  MPU_InitStruct.IsBufferable = MPU_ACCESS_BUFFERABLE;

  HAL_MPU_ConfigRegion(&MPU_InitStruct);

  /** Initializes and configures the Region and the memory to be protected
  */
  MPU_InitStruct.Number = MPU_REGION_NUMBER1;
  MPU_InitStruct.BaseAddress = 0x38000000;
  MPU_InitStruct.Size = MPU_REGION_SIZE_64KB;
  MPU_InitStruct.TypeExtField = MPU_TEX_LEVEL0;
  MPU_InitStruct.IsBufferable = MPU_ACCESS_NOT_BUFFERABLE;

  HAL_MPU_ConfigRegion(&MPU_InitStruct);
  /* Enables the MPU */
  HAL_MPU_Enable(MPU_PRIVILEGED_DEFAULT);

}

void HAL_TIM_PeriodElapsedCallback(TIM_HandleTypeDef *htim)
{
  if (htim->Instance == TIM17) {
    HAL_IncTick();
  }
}

void Error_Handler(void)
{
  __disable_irq();
  while (1)
  {
  }
}

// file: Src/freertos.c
/* USER CODE BEGIN Header */
/**
  ******************************************************************************
  * File Name          : freertos.c
  * Description        : Code for freertos applications
  ******************************************************************************
  * @attention
  *
  * Copyright (c) 2022 STMicroelectronics.
  * All rights reserved.
  *
  * This software is licensed under terms that can be found in the LICENSE file
  * in the root directory of this software component.
  * If no LICENSE file comes with this software, it is provided AS-IS.
  *
  ******************************************************************************
  */
/* USER CODE END Header */

#include "FreeRTOS.h"
#include "task.h"
#include "main.h"
#include "cmsis_os.h"

/* USER CODE BEGIN Includes */
#include "stdbool.h"
#include "memory.h"
#include "DSP.h"
#include "adc.h"
#include "tim.h"
#include "spi.h"
#include "ui.h"
/* USER CODE END Includes */

/* USER CODE BEGIN PD */
#define ADC_NUM 1024
#define FFT_LENGTH ADC_NUM
#define FFT_LENGTH_MAX 4096
#define spi_buffer_size 1024
/* USER CODE END PD */

/* USER CODE BEGIN Variables */
float ADC1_Fs = 100.0f * 1000.0f;
float ADC2_Fs = 100.0f * 1000.0f;
uint32_t TIM2_period;
uint32_t TIM4_period;
bool ADC1_ConvCplt = false;
bool ADC2_ConvCplt = false;
__attribute__((section(".d3"))) uint16_t ADC1Value[ADC_NUM]={0};
__attribute__((section(".d3"))) uint16_t ADC2Value[ADC_NUM]={0};
float ADC1Sample[ADC_NUM];
float ADC2Sample[ADC_NUM];

//__attribute__((section(".d3")))
uint16_t spi_buffer_rx[spi_buffer_size];
//__attribute__((section(".d3")))
uint16_t spi_buffer_tx[spi_buffer_size];
uint16_t spi_packet_length=spi_buffer_size;
bool spi_packet_Cplt = false;

/* USER CODE END Variables */
/* Definitions for lvglTask */
osThreadId_t lvglTaskHandle;
const osThreadAttr_t lvglTask_attributes = {
  .name = "lvglTask",
  .stack_size = 1024 * 4,
  .priority = (osPriority_t) osPriorityAboveNormal,
};
/* Definitions for adcTask */
osThreadId_t adcTaskHandle;
const osThreadAttr_t adcTask_attributes = {
  .name = "adcTask",
  .stack_size = 1024 * 4,
  .priority = (osPriority_t) osPriorityNormal,
};
/* Definitions for spiTask */
osThreadId_t spiTaskHandle;
const osThreadAttr_t spiTask_attributes = {
  .name = "spiTask",
  .stack_size = 1024 * 4,
  .priority = (osPriority_t) osPriorityNormal,
};

/* USER CODE BEGIN FunctionPrototypes */

void HAL_SPI_TxRxCpltCallback(SPI_HandleTypeDef *hspi) {
    if(hspi ->Instance == SPI2||hspi ->Instance == SPI3){
        spi_packet_Cplt = true;
    }
}
void HAL_ADC_ConvCpltCallback(ADC_HandleTypeDef* hadc)
{
    if(hadc->Instance==ADC1){
        ADC1_ConvCplt = true;
    }
    if(hadc->Instance==ADC2){
        ADC2_ConvCplt = true;
    }
}

/* USER CODE END FunctionPrototypes */

void lvglTask_cb(void *argument);
void adcTask_cb(void *argument);
void spiTask_cb(void *argument);

void MX_FREERTOS_Init(void); /* (MISRA C 2004 rule 8.1) */

/* Hook prototypes */
void vApplicationTickHook(void);

/* USER CODE BEGIN 3 */
void vApplicationTickHook(void) {
    /* This function will be called by each tick interrupt if
   configUSE_TICK_HOOK is set to 1 in FreeRTOSConfig.h. User code can be
   added here, but the tick hook is called from an interrupt context, so
   code must not attempt to block, and only the interrupt safe FreeRTOS API
   functions can be used (those that end in FromISR()). */
    lv_tick_inc(1);
}
/* USER CODE END 3 */

void MX_FREERTOS_Init(void) {

  /* Create the thread(s) */
  /* creation of lvglTask */
  lvglTaskHandle = osThreadNew(lvglTask_cb, NULL, &lvglTask_attributes);

  /* creation of adcTask */
//  adcTaskHandle = osThreadNew(adcTask_cb, NULL, &adcTask_attributes);

  /* creation of spiTask */
  spiTaskHandle = osThreadNew(spiTask_cb, NULL, &spiTask_attributes);

}

void lvglTask_cb(void *argument)
{
  /* USER CODE BEGIN lvglTask_cb */
    lv_init();
    lv_port_disp_init();
    lv_port_indev_init();
//    lv_demo_benchmark();
    lv_demo_widgets();
    /* Infinite loop */
    for (;;) {
        lv_timer_handler();
        osDelay(1);
    }
  /* USER CODE END lvglTask_cb */
}

void adcTask_cb(void *argument)
{
  /* USER CODE BEGIN adcTask_cb */
  TIM2_period=(uint32_t) (10000000.0/ADC1_Fs);
  TIM4_period=(uint16_t) (10000000.0/ADC1_Fs);
  __HAL_TIM_SET_AUTORELOAD(&htim2, TIM2_period - 1);
  __HAL_TIM_SET_COMPARE(&htim2,TIM_CHANNEL_2, TIM2_period/2);
  HAL_TIM_Base_Start(&htim2);
  HAL_ADC_Start_DMA(&hadc1, (uint32_t *) ADC1Value, ADC_NUM);
  HAL_TIM_PWM_Start(&htim2, TIM_CHANNEL_2);

  __HAL_TIM_SET_AUTORELOAD(&htim4, TIM4_period - 1);
  __HAL_TIM_SET_COMPARE(&htim4,TIM_CHANNEL_4, TIM4_period/2);
  HAL_TIM_Base_Start(&htim4);
  HAL_ADC_Start_DMA(&hadc2, (uint32_t *) ADC2Value, ADC_NUM);
  HAL_TIM_PWM_Start(&htim4, TIM_CHANNEL_4);
    /* Infinite loop */
    for (;;) {
        if (ADC1_ConvCplt==1) {
            //ADC采样数据转换实际电压幅度
            SCB_InvalidateDCache_by_Addr((uint32_t*)ADC1Value, sizeof(ADC1Value));
            for (int i = 0; i < ADC_NUM; i++) {
                ADC1Sample[i] = (float) ADC1Value[i] / 65535.0f * 6.6f - 3.3f;
                printf("wave:%.3f\r\n",ADC1Sample[i]);
            }
            ADC1_ConvCplt=0;
            HAL_ADC_Start_DMA(&hadc1, (uint32_t *) ADC1Value, ADC_NUM);
        }
        if (ADC2_ConvCplt==1) {
            //ADC采样数据转换实际电压幅度
            SCB_InvalidateDCache_by_Addr((uint32_t*)ADC2Value, sizeof(ADC2Value));
            for (int i = 0; i < ADC_NUM; i++) {
                ADC2Sample[i] = (float) ADC2Value[i] / 65535.0f * 6.6f - 3.3f;
                printf("wave:%.3f\r\n",ADC2Sample[i]);
            }
            ADC2_ConvCplt=0;
            HAL_ADC_Start_DMA(&hadc2, (uint32_t *) ADC2Value, ADC_NUM);
        }
        osDelay(1);
    }
  /* USER CODE END adcTask_cb */
}

void spiTask_cb(void *argument)
{
  /* USER CODE BEGIN spiTask_cb */
  //测试数据
//  for (int i = 0; i < spi_packet_length; ++i) {
//      spi_buffer_tx[i]= (uint16_t)((arm_sin_f32(1.0*i/spi_packet_length*2*PI)+1)/2*0xFFFF);
//  }

  uint16_t adc_select;
  uint64_t sample_freq;
  uint16_t sample_num;
  uint16_t cycle_times;
  uint16_t cycle_points;

  adc_select=0xADC0;
  sample_freq=10000000;
  cycle_times=1;
  cycle_points=20;
  sample_num=cycle_points*cycle_times;

  spi_packet_Cplt=false;
  spi_buffer_tx[0]=0xABCD;
  spi_buffer_tx[1]=0xFADC;
  spi_buffer_tx[2]=0xAF00;
  spi_buffer_tx[3]=adc_select; //选择ADC
  spi_buffer_tx[4]=0xAF01;
  spi_buffer_tx[5]=sample_freq / 0xFFFF;      //设置采样频率
  spi_buffer_tx[6]=sample_freq % (0xFFFF+1);
  spi_buffer_tx[7]=0xAF02;
  spi_buffer_tx[8]=sample_num;                //设置采样点数
  spi_buffer_tx[9]=0xCDEF;
  spi_buffer_tx[spi_buffer_size-1]=0xDCAB;
  //开启SPI传输
  HAL_SPI_TransmitReceive_DMA(&hspi2, (uint8_t *)spi_buffer_tx,(uint8_t *)spi_buffer_rx, spi_packet_length);
  /* Infinite loop */
  for(;;)
  {
      if(spi_packet_Cplt){
          //打印接收数据
          for (int i = 0; i < spi_packet_length; ++i) {
              //printf("d:%d\r\n",spi_buffer_rx[i]);
              printf("[%d]txd:0x%04x rxd:0x%04x\r\n",i,spi_buffer_tx[i],spi_buffer_rx[i]);
          }
//          for (int i = 2; i < spi_packet_size-1; ++i) {
//              //        printf("[%llu][%d]txd:0x%04x rxd:0x%04x\r\n",scan_freq,i,spi_txd[i],spi_rxd[i]);
//              if(spi_rxd[i-2]==0x0000&&spi_rxd[i-1]==0xABCD) wave_data_flg=1;
//              if(wave_data_flg){
//                  *((uint16_t*)&wave_data[k])=spi_rxd[i];
//                  k++;
//              }
//              if(spi_rxd[i+1]==0xDCBA&&spi_rxd[i+2]==0x0000) wave_data_flg=0;
//          }
          HAL_Delay(1500);
          //再次发送
          HAL_SPI_TransmitReceive_DMA(&hspi2, (uint8_t *)spi_buffer_tx,(uint8_t *)spi_buffer_rx, spi_packet_length);
          spi_packet_Cplt=!spi_packet_Cplt;
      }
    osDelay(1);
  }
  /* USER CODE END spiTask_cb */
}
